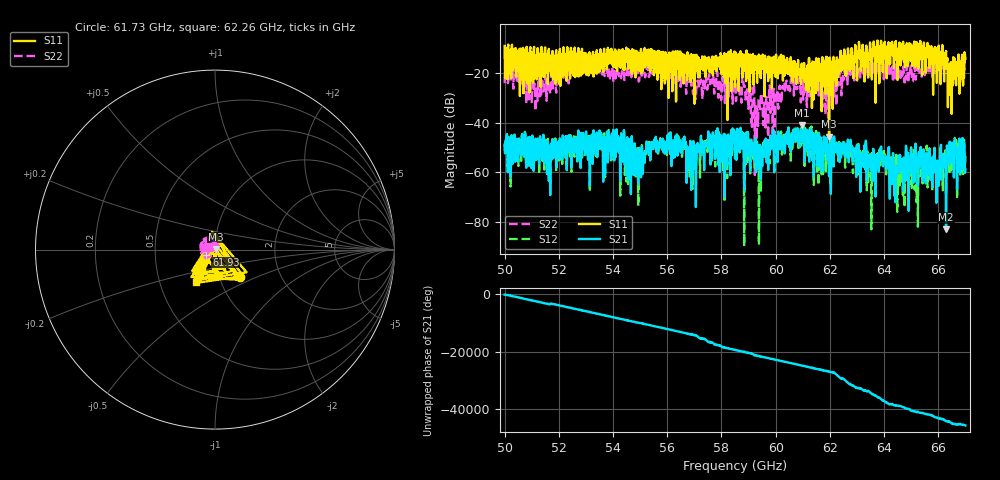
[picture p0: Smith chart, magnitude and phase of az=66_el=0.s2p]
!Created with skrf (http://scikit-rf.org).
# GHz S RI R 50.0
!freq ReS11 ImS11 ReS21 ImS21 ReS12 ImS12 ReS22 ImS22
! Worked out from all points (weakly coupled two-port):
!   1001 points, 50 GHz to 67 GHz, reference 50 ohm
!   highest |S21| = -41.03 dB at 60.98 GHz (marker M1); lowest = -83.0 dB at 66.29 GHz (marker M2)
!   lowest |S11| = -45.6 dB at 61.97 GHz (marker M3), VSWR 1.01, Z = 50.3 + j0.403 ohm
!   |S11| at or under -10 dB: 52.72 GHz to 53.81 GHz (1.086 GHz wide, 2.04 % of centre); 55.17 GHz to 62.66 GHz (7.496 GHz wide, 12.7 % of centre); 66.16 GHz to end of sweep (the widest 3 of 56)
!   |S22| runs from -61.1 to -13.3 dB; largest |S21 - S12| = 0.0023
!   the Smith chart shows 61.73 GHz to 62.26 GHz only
!   S11 on the Smith chart (normalised r, x): 61.73 GHz: 1.25, -0.39; 61.93 GHz: 0.91, -0.05; 62.26 GHz: 0.76, -0.29
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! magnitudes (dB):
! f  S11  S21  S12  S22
! 50 GHz  -9.0  -48.8  -48.8  -24.0
! 51.14 GHz  -13.2  -46.4  -46.6  -35.3
! 52.84 GHz  -12.9  -45.9  -45.4  -19.9
! 54.1 GHz  -17.7  -53.9  -53.2  -22.1
! 54.84 GHz  -10.9  -56.5  -53.7  -20.6
! 55.68 GHz  -13.8  -50.7  -48.8  -21.4
! 56.97 GHz  -12.6  -50.4  -47.5  -24.1
! 58.5 GHz  -25.5  -54.4  -52.4  -23.5
! 59.32 GHz  -23.9  -48.7  -47.6  -34.5
! 60.98 GHz  -21.8  -41.0  -41.7  -20.5
! 61.34 GHz  -34.0  -46.6  -48.3  -26.6
! 61.73 GHz  -13.8  -48.8  -48.7  -33.6
! 61.93 GHz  -25.2  -48.8  -49.2  -37.7
! 61.97 GHz  -45.6  -61.6  -59.1  -22.8
! 62.26 GHz  -13.6  -48.1  -51.7  -25.0
! 63.26 GHz  -12.7  -56.4  -54.1  -18.4
! 63.45 GHz  -12.5  -53.8  -54.4  -19.4
! 64.18 GHz  -12.1  -49.8  -49.5  -17.4
! 64.7 GHz  -7.3  -67.6  -70.2  -17.3
! 66.29 GHz  -11.0  -83.0  -69.0  -16.0
! 66.44 GHz  -28.8  -53.2  -55.7  -16.1
! 67 GHz  -14.2  -58.9  -53.3  -14.3
